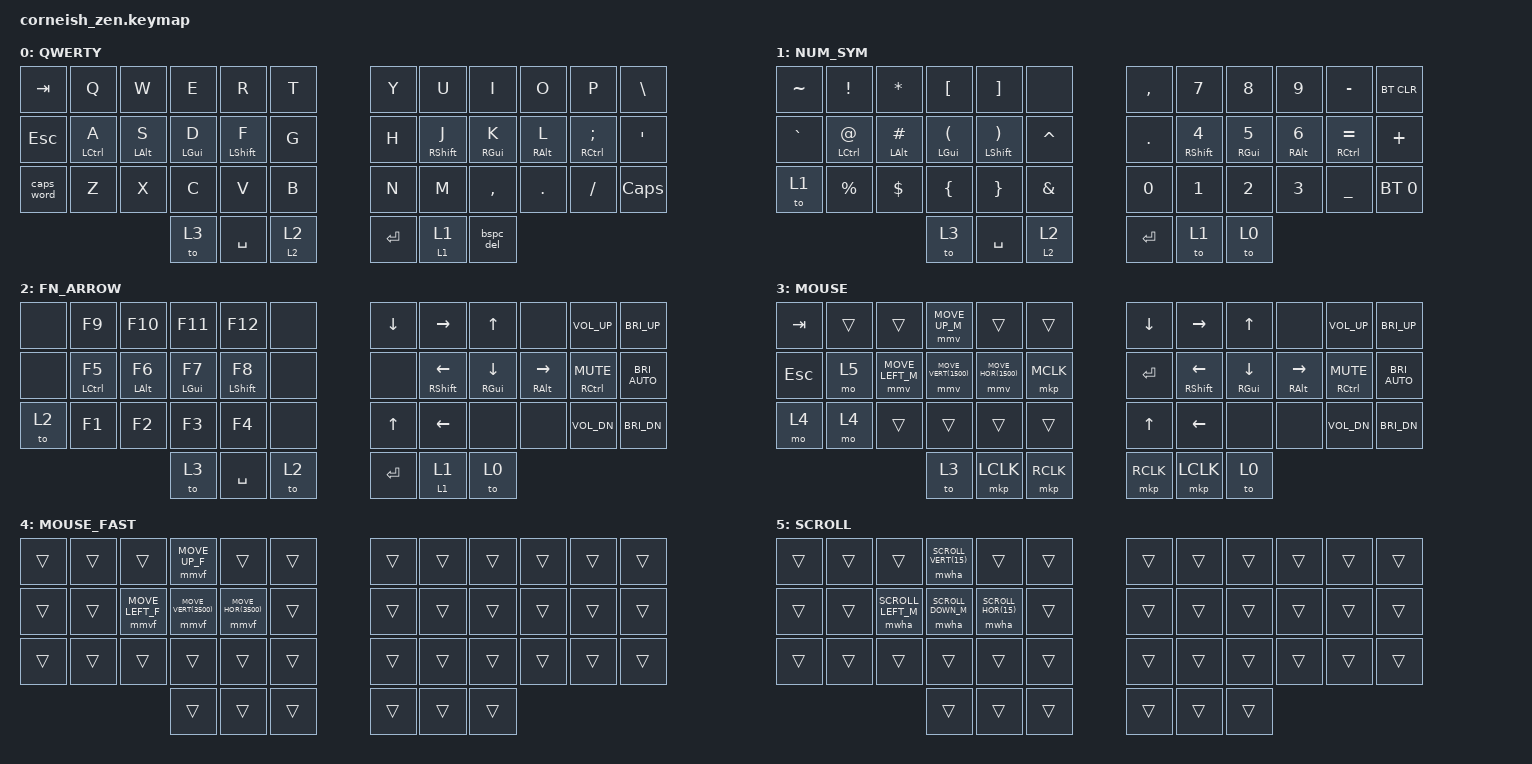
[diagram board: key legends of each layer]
#include <behaviors.dtsi>
#include <dt-bindings/zmk/keys.h>
#include <dt-bindings/zmk/bt.h>
#include <dt-bindings/zmk/mouse.h>

#define MOVE_UP_M MOVE_VERT(-1500)
#define MOVE_DOWN_M MOVE_VERT(1500)
#define MOVE_LEFT_M MOVE_HOR(-1500)
#define MOVE_RIGHT_M MOVE_HOR(1500)

#define MOVE_UP_F MOVE_VERT(-3500)
#define MOVE_DOWN_F MOVE_VERT(3500)
#define MOVE_LEFT_F MOVE_HOR(-3500)
#define MOVE_RIGHT_F MOVE_HOR(3500)

#define SCROLL_UP_M SCROLL_VERT(15)
#define SCROLL_DOWN_M SCROLL_VERT(-15)
#define SCROLL_LEFT_M SCROLL_HOR(-15)
#define SCROLL_RIGHT_M SCROLL_HOR(15)

#define SCROLL_UP_F SCROLL_VERT(30)
#define SCROLL_DOWN_F SCROLL_VERT(-30)
#define SCROLL_LEFT_F SCROLL_HOR(-30)
#define SCROLL_RIGHT_F SCROLL_HOR(30)

/ {
  chosen {
    zmk,matrix_transform = &default_transform;
    //zmk,matrix_transform = &five_column_transform;
  };
};

&caps_word {
    continue-list = <UNDERSCORE BACKSPACE DELETE SEMICOLON>;
    also-mod-list = <SEMICOLON>;
    break-list = <P>;
};

/ {
    behaviors {
        hm: homerow_mods {
            compatible = "zmk,behavior-hold-tap";
            label = "HOMEROW_MODS";
            #binding-cells = <2>;
            tapping-term-ms = <300>;
            quick-tap-ms = <150>;
            global-quick-tap;
            flavor = "tap-preferred";
            bindings = <&kp>, <&kp>;
        };
        hms: homerow_mods_shift {
            compatible = "zmk,behavior-hold-tap";
            label = "HOMEROW_MODS_SHFT";
            #binding-cells = <2>;
            tapping-term-ms = <190>;
            quick-tap-ms = <30>;
            global-quick-tap;
            flavor = "balanced";
            bindings = <&kp>, <&kp>;
        };
        bspc_del: backspace_delete {
            compatible = "zmk,behavior-mod-morph";
            label = "BACKSPACE_DELETE";
            #binding-cells = <0>;
            bindings = <&kp BACKSPACE>, <&kp DELETE>;
            mods = <(MOD_LSFT|MOD_RSFT)>;
        };

        sm: sticky_momentary_layer {
            compatible = "zmk,behavior-hold-tap";
            label = "STICKY_MOMENTARY_LAYER";
            #binding-cells = <2>;
            tapping-term-ms = <200>;
            quick-tap-ms = <50>;
            global-quick-tap;
            flavor = "balanced";
            bindings = <&mo>, <&sl>;
        };

        mmvf: mouse_move_fast {
			compatible = "zmk,behavior-mouse-move";
			label = "MOUSE_MOVE_FAST";
			#binding-cells = <1>;
			delay-ms = <0>;
			time-to-max-speed-ms = <100>;
			acceleration-exponent = <0>;
		};
        mwha: mouse_scroll_accel {
			compatible = "zmk,behavior-mouse-scroll";
			label = "MOUSE_SCROLL";
			#binding-cells = <1>;
			delay-ms = <0>;
			time-to-max-speed-ms = <100>;
			acceleration-exponent = <1>;
		};
    };

    keymap {
        compatible = "zmk,keymap";

        default_layer {
            label = "QWERTY";
            bindings = <

   &kp TAB     &kp Q         &kp W       &kp E       &kp R         &kp T                      &kp Y      &kp U         &kp I       &kp O       &kp P           &kp BSLH

   &kp ESC     &hm LCTRL A   &hm LALT S  &hm LGUI D  &hms LSHFT F  &kp G                      &kp H      &hms RSHFT J  &hm RGUI K  &hm RALT L  &hm RCTRL SEMI  &kp SQT

   &caps_word  &kp Z         &kp X       &kp C       &kp V         &kp B                      &kp N      &kp M         &kp COMMA   &kp DOT     &kp FSLH        &kp CAPS


                                         &to 3       &kp SPACE     &sm 2 2                    &kp RET    &sm 1 1         &bspc_del
            >;
        };
        lower_layer {
            label = "NUM_SYM";
            bindings = <

   &kp TILDE    &kp EXCL       &kp STAR         &kp LBKT       &kp RBKT         &none                &kp COMMA    &kp N7         &kp N8       &kp N9       &kp MINUS        &bt BT_CLR

   &kp GRAVE    &hm LCTRL AT   &hm LALT HASH    &hm LGUI LPAR  &hms LSHFT RPAR  &kp CARET            &kp DOT      &hms RSHFT N4  &hm RGUI N5  &hm RALT N6  &hm RCTRL EQUAL  &kp PLUS

   &to 1        &kp PRCNT      &kp DLLR         &kp LBRC       &kp RBRC         &kp AMPS             &kp N0       &kp N1         &kp N2       &kp N3       &kp UNDER        &bt BT_SEL 0


                                                &to 3          &kp SPACE        &sm 2 2              &kp RET      &to 1          &to 0
            >;
        };

        raise_layer {
            label = "FN_ARROW";
            bindings = <

   &none    &kp F9        &kp F10       &kp F11      &kp F12        &none               &kp DOWN    &kp RIGHT        &kp UP         &none           &kp C_VOL_UP      &kp C_BRI_UP

   &none    &hm LCTRL F5  &hm LALT F6   &hm LGUI F7  &hms LSHFT F8  &none               &none       &hms RSHFT LEFT  &hm RGUI DOWN  &hm RALT RIGHT  &hm RCTRL C_MUTE  &kp C_BRI_AUTO

   &to 2    &kp F1        &kp F2        &kp F3       &kp F4         &none               &kp UP      &kp LEFT         &none          &none           &kp C_VOL_DN      &kp C_BRI_DN


                                        &to 3        &kp SPACE      &to 2               &kp RET     &sm 1 1          &to 0
            >;
        };

        mouse_layer {
            label = "MOUSE";
            bindings = <

   &kp TAB  &trans    &trans            &mmv MOVE_UP_M     &trans             &trans                  &kp DOWN    &kp RIGHT        &kp UP         &none           &kp C_VOL_UP      &kp C_BRI_UP
                                                                                                                                                                                               
   &kp ESC  &mo 5     &mmv MOVE_LEFT_M  &mmv MOVE_DOWN_M   &mmv MOVE_RIGHT_M  &mkp MCLK               &kp RET     &hms RSHFT LEFT  &hm RGUI DOWN  &hm RALT RIGHT  &hm RCTRL C_MUTE  &kp C_BRI_AUTO
                                                                                                                                                                                               
   &mo 4    &mo 4     &trans            &trans             &trans             &trans                  &kp UP      &kp LEFT         &none          &none           &kp C_VOL_DN      &kp C_BRI_DN


                                        &to 3              &mkp LCLK          &mkp RCLK               &mkp RCLK   &mkp LCLK        &to 0
            >;
        };

        mouse_layer_fast {
            label = "MOUSE_FAST";
            bindings = <

   &trans   &trans    &trans              &mmvf MOVE_UP_F     &trans              &trans              &trans   &trans   &trans   &trans   &trans   &trans
                                                                                                                                                          
   &trans   &trans    &mmvf MOVE_LEFT_F   &mmvf MOVE_DOWN_F   &mmvf MOVE_RIGHT_F  &trans              &trans   &trans   &trans   &trans   &trans   &trans
                                                                                                                                                          
   &trans   &trans    &trans              &trans              &trans              &trans              &trans   &trans   &trans   &trans   &trans   &trans
                                                                                                                              
                                                                                                                              
                                          &trans              &trans              &trans              &trans   &trans   &trans
            >;
        };

        scroll_layer {
            label = "SCROLL";
            bindings = <

   &trans   &trans    &trans               &mwha SCROLL_UP_M    &trans                &trans            &trans   &trans   &trans   &trans   &trans   &trans   
                                                                                                                                                            
   &trans   &trans    &mwha SCROLL_LEFT_M  &mwha SCROLL_DOWN_M  &mwha SCROLL_RIGHT_M  &trans            &trans   &trans   &trans   &trans   &trans   &trans   
                                                                                                                                                            
   &trans   &trans    &trans               &trans               &trans                &trans            &trans   &trans   &trans   &trans   &trans   &trans   
                                                                                                                                                              
                                                                                                                                                              
                                           &trans               &trans                &trans            &trans   &trans   &trans                              
            >;
        };
    };
};
